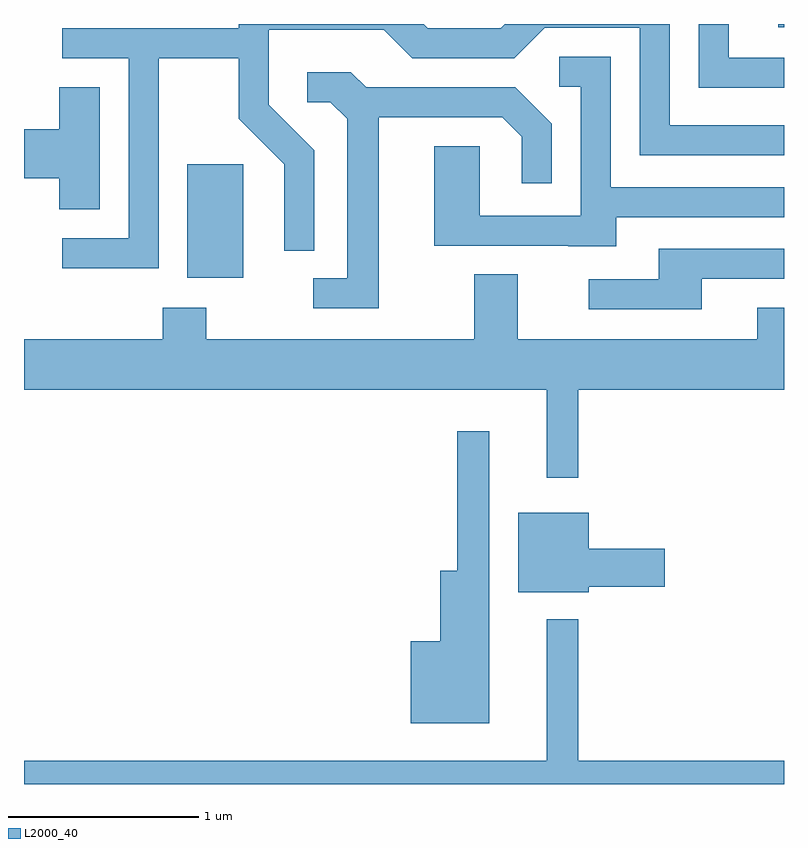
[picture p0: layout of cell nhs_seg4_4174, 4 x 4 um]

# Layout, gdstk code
import gdstk
lib = gdstk.Library(unit=1e-6, precision=1e-09)
def R(c, l, rs):  # rectangles x0, y0, x1, y1
    for r in rs: c.add(gdstk.rectangle(r[:2], r[2:], *l))
def P(c, l, *ps):  # polygons
    for p in ps: c.add(gdstk.Polygon(p, *l))
L2000_40 = (2000, 40)

nhs_seg4_4174 = lib.new_cell('nhs_seg4_4174')
R(nhs_seg4_4174, L2000_40, [(308.471,1308.646,308.764,1309.244), (311.581,1309.966,311.611,1309.982)])
P(nhs_seg4_4174, L2000_40, [(308.319,1309.801),(308.741,1309.801),(308.741,1309.484),(308.981,1309.244),(308.981,1308.788),(309.139,1308.788),(309.139,1309.317),(308.899,1309.557),(308.899,1309.951),(309.504,1309.951),(309.654,1309.801),(310.192,1309.801),(310.352,1309.961),(310.851,1309.961),(310.851,1309.291),(311.611,1309.291),(311.611,1309.449),(311.009,1309.449),(311.009,1309.982),(310.142,1309.982),(310.119,1309.959),(309.737,1309.959),(309.714,1309.982),(308.741,1309.982),(308.741,1309.959),(307.813,1309.959),(307.813,1309.801),(308.161,1309.801),(308.161,1308.854),(307.813,1308.854),(307.813,1308.696),(308.319,1308.696)],
  [(311.611,1309.804),(311.319,1309.804),(311.319,1309.982),(311.161,1309.982),(311.161,1309.646),(311.611,1309.646)],
  [(310.729,1308.966),(311.611,1308.966),(311.611,1309.124),(310.699,1309.124),(310.699,1309.809),(310.428,1309.809),(310.428,1309.651),(310.541,1309.651),(310.541,1308.974),(310.009,1308.974),(310.009,1309.339),(309.771,1309.339),(309.771,1308.816),(310.475,1308.816),(310.475,1308.811),(310.729,1308.811)],
  [(309.479,1309.491),(310.129,1309.491),(310.231,1309.389),(310.231,1309.143),(310.389,1309.143),(310.389,1309.457),(310.197,1309.649),(309.412,1309.649),(309.332,1309.729),(309.103,1309.729),(309.103,1309.571),(309.224,1309.571),(309.311,1309.484),(309.311,1308.644),(309.133,1308.644),(309.133,1308.486),(309.479,1308.486)],
  [(308.009,1309.649),(307.796,1309.649),(307.796,1309.429),(307.611,1309.429),(307.611,1309.171),(307.796,1309.171),(307.796,1309.006),(308.009,1309.006)],
  [(311.179,1308.641),(311.611,1308.641),(311.611,1308.799),(310.951,1308.799),(310.951,1308.639),(310.583,1308.639),(310.583,1308.481),(311.179,1308.481)],
  [(310.529,1308.056),(311.611,1308.056),(311.611,1308.489),(311.471,1308.489),(311.471,1308.324),(310.209,1308.324),(310.209,1308.664),(309.981,1308.664),(309.981,1308.324),(308.569,1308.324),(308.569,1308.489),(308.341,1308.489),(308.341,1308.324),(307.611,1308.324),(307.611,1308.056),(310.361,1308.056),(310.361,1307.593),(310.529,1307.593)],
  [(310.059,1307.838),(309.891,1307.838),(309.891,1307.104),(309.801,1307.104),(309.801,1306.734),(309.646,1306.734),(309.646,1306.301),(310.059,1306.301)],
  [(310.584,1307.021),(310.984,1307.021),(310.984,1307.219),(310.584,1307.219),(310.584,1307.409),(310.211,1307.409),(310.211,1306.991),(310.584,1306.991)],
  [(311.611,1306.104),(310.529,1306.104),(310.529,1306.848),(310.361,1306.848),(310.361,1306.104),(307.611,1306.104),(307.611,1305.982),(311.611,1305.982)])

lib.write_gds('nhs_seg4_4174.gds')
